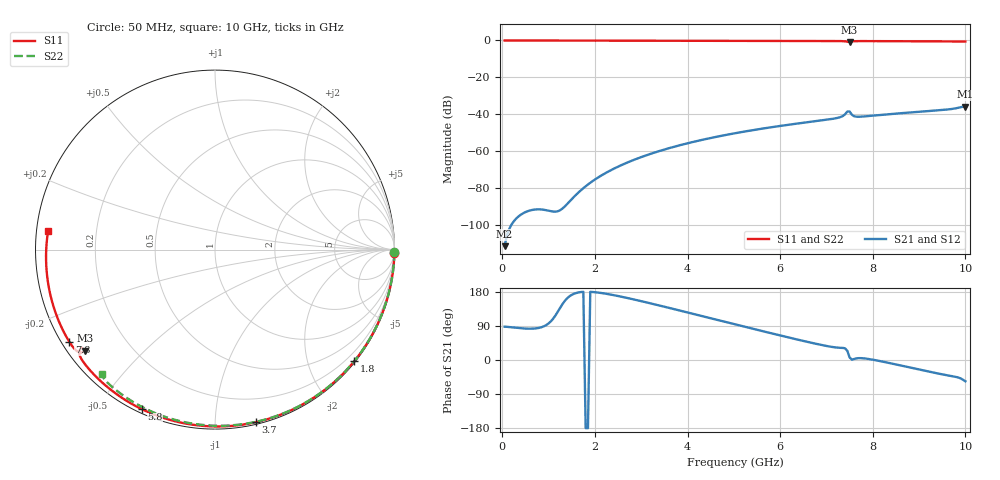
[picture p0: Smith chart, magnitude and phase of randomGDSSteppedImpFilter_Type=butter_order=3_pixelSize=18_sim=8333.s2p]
! freq	dB(S11)	phase(S11)	dB(S12)	phase(S12)
!  dB(S21)	phase(S21)	dB(S22)	phase(S22)
!S-par simulation data
#  GHz  S  DB  R 50
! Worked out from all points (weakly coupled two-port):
!   200 points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, 50 MHz to 10 GHz, reference 50 ohm
!   highest |S21| = -35.98 dB at 10 GHz (marker M1); lowest = -111.7 dB at 50 MHz (marker M2)
!   lowest |S11| = -0.8 dB at 7.5 GHz (marker M3), VSWR 22.57, Z = 2.48 - j17.1 ohm
!   |S11| at or under -10 dB: nowhere
!   |S22| runs from -0.6 to 0.0 dB; largest |S21 - S12| = 0
!   S11 on the Smith chart (normalised r, x): 50 MHz: open; 1.8 GHz: 0.03, -2.85; 3.7 GHz: 0.02, -1.27; 5.8 GHz: 0.02, -0.64; 7.8 GHz: 0.02, -0.29; 10 GHz: 0.03, +0.06
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0.05  -0.00 -1.1  -111.75 87.8  -111.75 87.8  -0.00 -0.8
0.85  -0.02 -18.5  -91.82 86.6  -91.82 86.6  -0.02 -12.9
1.75  -0.05 -37.6  -80.24 179.9  -80.24 179.9  -0.03 -26.3
1.8  -0.05 -38.7  -79.21 -179.9  -79.21 -179.9  -0.03 -27.1
2.1  -0.06 -44.9  -73.94 177.5  -73.94 177.5  -0.04 -31.5
2.45  -0.07 -52.1  -69.15 170.1  -69.15 170.1  -0.05 -36.6
2.9  -0.08 -61.1  -64.30 158.1  -64.30 158.1  -0.06 -43.1
3.4  -0.09 -70.9  -60.01 143.6  -60.01 143.6  -0.07 -50.2
3.7  -0.10 -76.6  -57.82 134.6  -57.82 134.6  -0.07 -54.3
5.05  -0.15 -101.5  -50.28 93.4  -50.28 93.4  -0.11 -72.6
5.8  -0.19 -114.6  -47.18 70.8  -47.18 70.8  -0.14 -82.3
6.7  -0.25 -130.1  -44.07 44.7  -44.07 44.7  -0.18 -93.6
7.25  -0.32 -139.8  -42.01 32.5  -42.01 32.5  -0.21 -100.2
7.35  -0.38 -141.9  -41.10 31.9  -41.10 31.9  -0.22 -101.4
7.45  -0.70 -143.8  -38.62 24.4  -38.62 24.4  -0.22 -102.6
7.5  -0.77 -142.1  -38.61 6.5  -38.61 6.5  -0.22 -103.2
7.55  -0.51 -142.4  -40.38 1.1  -40.38 1.1  -0.23 -103.8
7.6  -0.41 -143.6  -41.19 2.9  -41.19 2.9  -0.23 -104.4
7.8  -0.35 -147.7  -41.30 4.4  -41.30 4.4  -0.25 -106.8
8.35  -0.39 -157.3  -40.07 -7.8  -40.07 -7.8  -0.29 -113.3
9.2  -0.48 -172.0  -38.35 -30.3  -38.35 -30.3  -0.36 -123.2
10  -0.58 173.7  -35.98 -56.1  -35.98 -56.1  -0.56 -132.3
